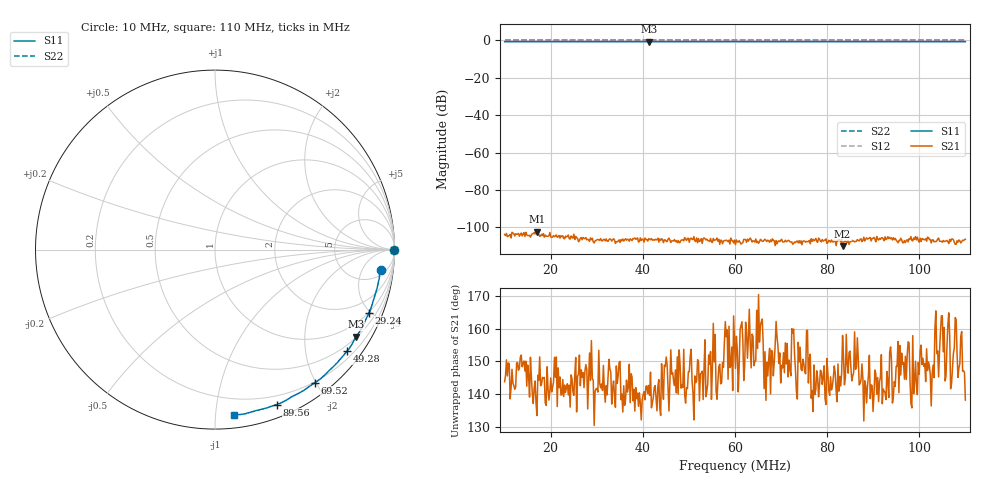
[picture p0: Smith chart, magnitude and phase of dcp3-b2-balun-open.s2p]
! Anritsu VNA Master:  Model: MS2034B/10/19/501
! SN:  1337062
! /bd0/ovro-jan-2016/dcp3-b2-balun-open.s2p
! Existing Calibration Information:
! TYPE:  Current Settings,  Active Cal Settings
! TIME:  01/14/2016 12:49:04 PM,  01/14/2016 12:01:10 PM
! INTERNAL TEMP:  43.3 C,  43.8 C
! # POINTS:  500,  500
! START FREQ:  10.000 MHz,  10.000 MHz
! STOP FREQ:  110.000 MHz,  110.000 MHz
! SOURCE POWER:  High,  High
! IFBW:  100 Hz,  100 Hz
! AVG FACTOR:  4 ,  4
! REF PLANE 1:  0 mm,  0 mm
! REF PLANE 2:  0 mm,  0 mm
! CAL TYPE:  Full S11,  Full S11
! CAL METHOD:  SOLT,  SOLT
! CAL LINE TYPE:  Coax,  Coax
! DUT PORT 1:  K-Conn(M),  K-Conn(M)
! DUT PORT 2:  N-Conn(M),  N-Conn(M)
! CAL STATUS:  OK: Accuracy High,  --
# GHZ S DB R 50.0
! FREQ.GHZ  S11DB  S11A  S21DB  S21A  S12DB  S12A  S22DB  S22A
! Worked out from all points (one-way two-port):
!   500 points, 10 MHz to 110 MHz, reference 50 ohm
!   highest |S21| = -102.28 dB at 17.01 MHz (marker M1); lowest = -110.1 dB at 83.35 MHz (marker M2)
!   lowest |S11| = -0.7 dB at 41.26 MHz (marker M3), VSWR 25.26, Z = 26 - j173 ohm
!   |S11| at or under -10 dB: nowhere
!   |S22| runs from 0.0 to 0.0 dB; largest |S21 - S12| = 1
!   S11 on the Smith chart (normalised r, x): 10 MHz: 7, -12; 29.24 MHz: 0.98, -4.88; 49.28 MHz: 0.36, -2.89; 69.52 MHz: 0.19, -1.99; 89.56 MHz: 0.12, -1.47; 110 MHz: 0.08, -1.12
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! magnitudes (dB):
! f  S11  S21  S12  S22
! 10 MHz  -0.6  -103.8  0.0  0.0
! 17.01 MHz  -0.6  -102.3  0.0  0.0
! 26.83 MHz  -0.7  -106.6  0.0  0.0
! 29.24 MHz  -0.7  -107.8  0.0  0.0
! 31.84 MHz  -0.7  -107.3  0.0  0.0
! 37.25 MHz  -0.7  -106.1  0.0  0.0
! 41.26 MHz  -0.7  -106.0  0.0  0.0
! 43.47 MHz  -0.7  -107.9  0.0  0.0
! 46.87 MHz  -0.6  -106.5  0.0  0.0
! 49.28 MHz  -0.7  -106.2  0.0  0.0
! 60.1 MHz  -0.7  -109.3  0.0  0.0
! 66.11 MHz  -0.6  -107.5  0.0  0.0
! 69.52 MHz  -0.7  -107.2  0.0  0.0
! 76.73 MHz  -0.7  -107.5  0.0  0.0
! 80.54 MHz  -0.7  -107.3  0.0  0.0
! 83.35 MHz  -0.7  -110.1  0.0  0.0
! 86.55 MHz  -0.6  -106.5  0.0  0.0
! 89.56 MHz  -0.6  -107.3  0.0  0.0
! 93.37 MHz  -0.6  -106.1  0.0  0.0
! 98.98 MHz  -0.7  -106.5  0.0  0.0
! 104.8 MHz  -0.6  -107.5  0.0  0.0
! 110 MHz  -0.7  -106.4  0.0  0.0
